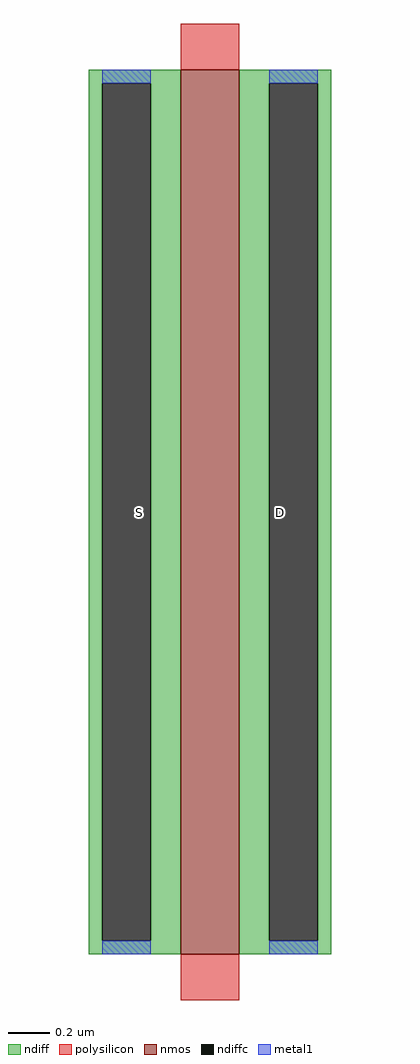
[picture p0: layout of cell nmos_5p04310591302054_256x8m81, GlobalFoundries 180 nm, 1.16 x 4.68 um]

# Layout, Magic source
magic
tech gf180mcuD
magscale 1 10
<< nmos >>
rect 0 0 56 847
<< ndiff >>
rect -88 834 0 847
rect -88 13 -75 834
rect -29 13 0 834
rect -88 0 0 13
rect 56 834 144 847
rect 56 13 85 834
rect 131 13 144 834
rect 56 0 144 13
<< ndiffc >>
rect -75 13 -29 834
rect 85 13 131 834
<< polysilicon >>
rect 0 847 56 891
rect 0 -44 56 0
<< metal1 >>
rect -75 834 -29 847
rect -75 0 -29 13
rect 85 834 131 847
rect 85 0 131 13
<< labels >>
flabel ndiffc -40 423 -40 423 0 FreeSans 93 0 0 0 S
flabel ndiffc 96 423 96 423 0 FreeSans 93 0 0 0 D
<< end >>
